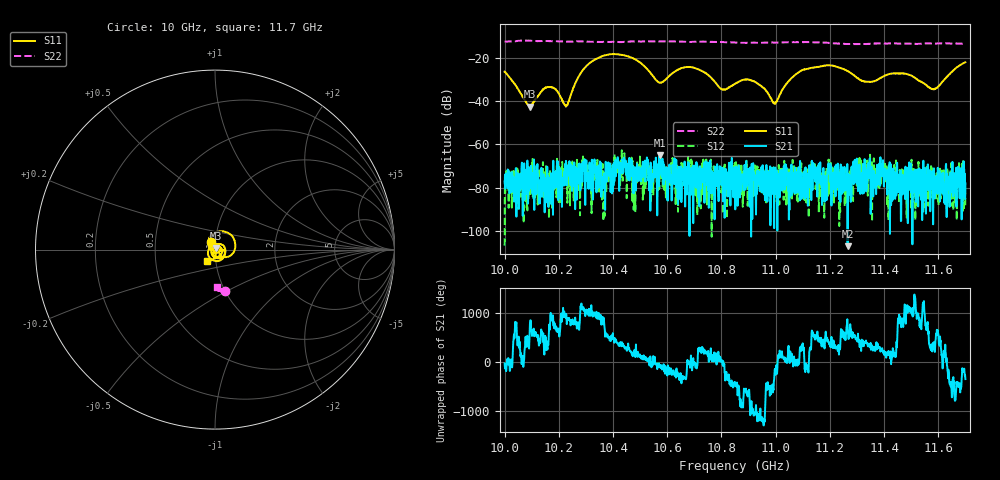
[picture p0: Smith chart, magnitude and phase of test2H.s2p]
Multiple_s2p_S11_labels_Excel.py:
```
import skrf as rf
import pandas as pd
import matplotlib.pyplot as plt

# List of S2P file paths add your file path
s2p_files = [
    r'C:\Users\vaish\OneDrive\Documents\projects\Test_Python\11W_POLE_TEST_EVM\test2H.s2p',
    r'C:\Users\vaish\OneDrive\Documents\projects\Test_Python\11W_POLE_TEST_EVM\testH1.s2p',
    r'C:\Users\vaish\OneDrive\Documents\projects\Test_Python\11W_POLE_TEST_EVM\test2V.s2p',
    r'C:\Users\vaish\OneDrive\Documents\projects\Test_Python\11W_POLE_TEST_EVM\testV1.s2p',
    # Add more file paths as needed
]

# Corresponding labels for each file
labels = [
    'Before 1',
    'After 1',
    'Before 2',
    'After 2',
    # Add more labels as needed
]

# Initialize an empty DataFrame to store all data
all_data = pd.DataFrame()

# Plot S11 parameters
plt.figure(figsize=(10, 6))

# Loop through each file and corresponding label
for file, label in zip(s2p_files, labels):
    network = rf.Network(file)  # Load the S2P file
    s11_db = network.s_db[:, 0, 0]  # Extract S11 in dB
    frequency = network.f  # Extract frequency

    # Create a DataFrame for the current file
    data = pd.DataFrame({
        'Frequency (Hz)': frequency,
        f'S11 (dB) - {label}': s11_db
    })

    # Merge with the main DataFrame
    if all_data.empty:
        all_data = data
    else:
        all_data = pd.merge(all_data, data, on='Frequency (Hz)', how='outer')

    # Plot S11
    network.plot_s_db(m=0, n=0, label=label)

# Set title and labels
plt.title('Plots of Before After vibration')
plt.xlabel('Frequency (Hz)')
plt.ylabel('Magnitude (dB)')
plt.legend()

# Show plot
plt.tight_layout()
plt.show()

# Export all data to an Excel file
all_data.to_excel('s11_parameters.xlsx', index=False)
```
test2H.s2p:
!Keysight Technologies,P9377B,MY61100142,A.16.70.00
!Date: Tuesday, September 12, 2023 10:54:28
!Correction: S11(C  2-Port  )
!S21(C  2-Port  )
!S12(C  2-Port  )
!S22(C  2-Port  )
!S2P File: Measurements: S11, S21, S12, S22:
# Hz S  dB  R 50
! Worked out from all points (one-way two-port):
!   1601 points, 10 GHz to 11.7 GHz, reference 50 ohm
!   highest |S21| = -65.10 dB at 10.57 GHz (marker M1); lowest = -107.1 dB at 11.27 GHz (marker M2)
!   lowest |S11| = -42.7 dB at 10.09 GHz (marker M3), VSWR 1.01, Z = 50.3 + j0.681 ohm
!   |S11| at or under -10 dB: start of sweep to end of sweep
!   |S22| runs from -13.7 to -12.0 dB; largest |S21 - S12| = 0.00063
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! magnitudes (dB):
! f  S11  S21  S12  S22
! 10 GHz  -26.4  -77.2  -106.8  -12.5
! 10.09 GHz  -42.7  -75.8  -70.7  -12.1
! 10.23 GHz  -42.0  -71.7  -72.1  -12.6
! 10.38 GHz  -18.5  -68.3  -72.3  -12.7
! 10.57 GHz  -31.5  -65.1  -71.6  -12.4
! 10.85 GHz  -32.0  -74.1  -78.8  -12.9
! 11 GHz  -41.0  -83.2  -82.0  -12.9
! 11.1 GHz  -25.8  -76.5  -75.2  -12.8
! 11.27 GHz  -26.1  -107.1  -80.4  -13.6
! 11.58 GHz  -34.5  -80.1  -78.0  -13.4
! 11.7 GHz  -22.1  -78.0  -89.6  -13.6
